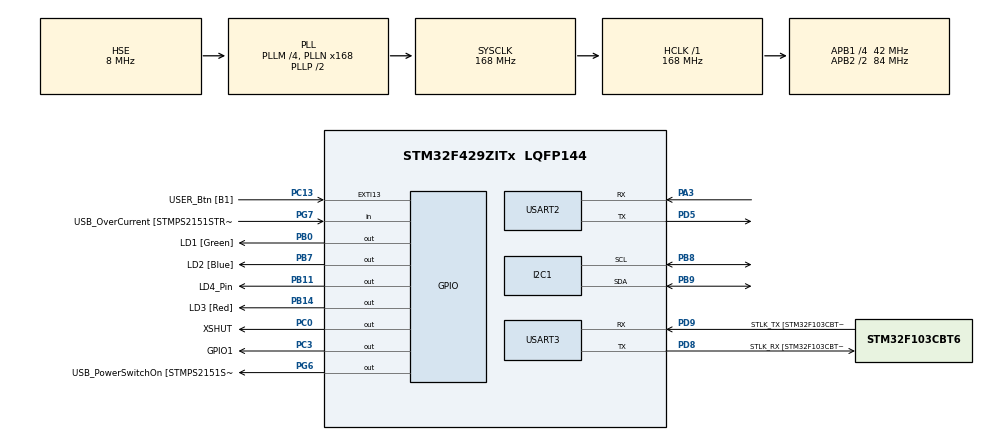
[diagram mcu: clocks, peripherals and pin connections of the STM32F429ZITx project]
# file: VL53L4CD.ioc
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Mcu.Family=STM32F4
Mcu.Name=STM32F429ZITx
Mcu.Package=LQFP144
NVIC.PriorityGroup=NVIC_PRIORITYGROUP_4
PA1.GPIO_Label=RMII_REF_CLK [LAN8742A-CZ-TR_REFCLK0]
PA1.Signal=ETH_REF_CLK
PA10.GPIO_Label=USB_ID
PA10.Signal=USB_OTG_FS_ID
PA11.GPIO_Label=USB_DM
PA11.Signal=USB_OTG_FS_DM
PA12.GPIO_Label=USB_DP
PA12.Signal=USB_OTG_FS_DP
PA13.GPIO_Label=TMS
PA13.Mode=Serial_Wire
PA13.Signal=SYS_JTMS-SWDIO
PA14.GPIO_Label=TCK
PA14.Mode=Serial_Wire
PA14.Signal=SYS_JTCK-SWCLK
PA2.GPIO_Label=RMII_MDIO [LAN8742A-CZ-TR_MDIO]
PA2.Signal=ETH_MDIO
PA3.Mode=Asynchronous
PA3.Signal=USART2_RX
PA7.GPIO_Label=RMII_CRS_DV [LAN8742A-CZ-TR_CRS_DV]
PA7.Signal=ETH_CRS_DV
PA8.GPIO_Label=USB_SOF [TP1]
PA8.Signal=USB_OTG_FS_SOF
PA9.GPIO_Label=USB_VBUS
PA9.Signal=USB_OTG_FS_VBUS
PB0.GPIO_Label=LD1 [Green]
PB0.Signal=GPIO_Output
PB11.GPIO_Label=LD4_Pin
PB11.Signal=GPIO_Output
PB13.GPIO_Label=RMII_TXD1 [LAN8742A-CZ-TR_TXD1]
PB13.Signal=ETH_TXD1
PB14.GPIO_Label=LD3 [Red]
PB14.Signal=GPIO_Output
PB7.GPIO_Label=LD2 [Blue]
PB7.Signal=GPIO_Output
PB8.Mode=I2C
PB8.Signal=I2C1_SCL
PB9.Mode=I2C
PB9.Signal=I2C1_SDA
PC0.GPIO_Label=XSHUT
PC0.Signal=GPIO_Output
PC1.GPIO_Label=RMII_MDC [LAN8742A-CZ-TR_MDC]
PC1.Signal=ETH_MDC
PC13.GPIO_Label=USER_Btn [B1]
PC13.Signal=GPXTI13
PC14/OSC32_IN.Mode=LSE-External-Oscillator
PC14/OSC32_IN.Signal=RCC_OSC32_IN
PC15/OSC32_OUT.Mode=LSE-External-Oscillator
PC15/OSC32_OUT.Signal=RCC_OSC32_OUT
PC3.GPIO_Label=GPIO1
PC3.Signal=GPIO_Output
PC4.GPIO_Label=RMII_RXD0 [LAN8742A-CZ-TR_RXD0]
PC4.Signal=ETH_RXD0
PC5.GPIO_Label=RMII_RXD1 [LAN8742A-CZ-TR_RXD1]
PC5.Signal=ETH_RXD1
PD5.Mode=Asynchronous
PD5.Signal=USART2_TX
PD8.GPIO_Label=STLK_RX [STM32F103CBT6_PA3]
PD8.Mode=Asynchronous
PD8.Signal=USART3_TX
PD9.GPIO_Label=STLK_TX [STM32F103CBT6_PA2]
PD9.Mode=Asynchronous
PD9.Signal=USART3_RX
PG11.GPIO_Label=RMII_TX_EN [LAN8742A-CZ-TR_TXEN]
PG11.Signal=ETH_TX_EN
PG13.GPIO_Label=RMII_TXD0 [LAN8742A-CZ-TR_TXD0]
PG13.Signal=ETH_TXD0
PG6.GPIO_Label=USB_PowerSwitchOn [STMPS2151STR_EN]
PG6.Signal=GPIO_Output
PG7.GPIO_Label=USB_OverCurrent [STMPS2151STR_FAULT]
PG7.Signal=GPIO_Input
PH0/OSC_IN.GPIO_Label=MCO [STM32F103CBT6_PA8]
PH0/OSC_IN.Mode=HSE-External-Clock-Source
PH0/OSC_IN.Signal=RCC_OSC_IN
PH1/OSC_OUT.Mode=HSE-External-Clock-Source
PH1/OSC_OUT.Signal=RCC_OSC_OUT
ProjectManager.HeapSize=0x200
ProjectManager.StackSize=0x400
ProjectManager.TargetToolchain=Makefile
RCC.48MHZClocksFreq_Value=48000000
RCC.AHBFreq_Value=168000000
RCC.APB1CLKDivider=RCC_HCLK_DIV4
RCC.APB1Freq_Value=42000000
RCC.APB1TimFreq_Value=84000000
RCC.APB2CLKDivider=RCC_HCLK_DIV2
RCC.APB2Freq_Value=84000000
RCC.APB2TimCLKDivider=2
RCC.APB2TimFreq_Value=168000000
RCC.CortexFreq_Value=168000000
RCC.HCLKFreq_Value=168000000
RCC.HSE_VALUE=8000000
RCC.HSI_VALUE=16000000
RCC.PLLM=4
RCC.PLLMUL=RCC_PLL_MUL9
RCC.PLLN=168
RCC.PLLQ=7
RCC.PLLSourceVirtual=RCC_PLLSOURCE_HSE
RCC.PRESCALERUSB=RCC_USBCLKSOURCE_PLL_DIV1_5
RCC.SYSCLKFreq_VALUE=168000000
RCC.SYSCLKSource=RCC_SYSCLKSOURCE_PLLCLK
RCC.SYSCLKSourceVirtual=RCC_SYSCLKSOURCE_PLLCLK
RCC.USBFreq_Value=48000000
RCC.VCOOutputFreq_Value=336000000
USART2.VirtualMode=VM_ASYNC
USART3.VirtualMode=VM_ASYNC
board=NUCLEO-F429ZI

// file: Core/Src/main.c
/* USER CODE BEGIN Header */
/**
  ******************************************************************************
  * @file           : main.c
  * @brief          : Main program body
  ******************************************************************************
  * @attention
  *
  * Copyright (c) 2023 STMicroelectronics.
  * All rights reserved.
  *
  * This software is licensed under terms that can be found in the LICENSE file
  * in the root directory of this software component.
  * If no LICENSE file comes with this software, it is provided AS-IS.
  *
  ******************************************************************************
  */
/* USER CODE END Header */
#include "main.h"

/* USER CODE BEGIN Includes */
#include <stdio.h>
#include "VL53L4CD_api.h"
/* USER CODE END Includes */

/* USER CODE BEGIN PD */
//////////---------lower_extreme(x) ---------y --------upper_extreme(z)-----------
#define lower_extreme LD1_Pin // less than x
#define lower_range   LD2_Pin // between x n y
#define upper_range   LD3_Pin// to define a pin   between y n z
#define upper_extreme GPIO_PIN_11 // greter than z

/* USER CODE END PD */

I2C_HandleTypeDef hi2c1;

UART_HandleTypeDef huart2;
UART_HandleTypeDef huart3;

/* USER CODE BEGIN PV */

int status;
volatile int IntCount;
uint8_t p_data_ready;
uint16_t dev, sensor_id;
VL53L4CD_ResultsData_t results;		/* Results data from VL53L4CD */
VL53L4CD_Version_t sw_version;	/* Driver version */
uint32_t prev_time=0;
uint32_t current_time=0;
/* USER CODE END PV */

void SystemClock_Config(void);
static void MX_GPIO_Init(void);
static void MX_I2C1_Init(void);
static void MX_USART3_UART_Init(void);
static void MX_USART2_UART_Init(void);
/* USER CODE BEGIN PFP */

void greater_than_extremity(void);
void lower_than_extremity(void);
void between_lower_range(void);
void between_upper_range(void);

#ifdef __GNUC__
#define PUTCHAR_PROTOTYPE int __io_putchar(int ch)
#else
#define PUTCHAR_PROTOTYPE int fputc(int ch, FILE *f)
#endif
PUTCHAR_PROTOTYPE
{
	HAL_UART_Transmit(&huart2, (uint8_t *)&ch, 1, 0xFFFF);
	return ch;
}

 int _write(int file, char *ptr, int len)
{
	// int DataIdx;

	// for (DataIdx = 0; DataIdx < len; DataIdx++)
	// {
	// 	__io_putchar(*ptr++);
	// }
  HAL_UART_Transmit(&huart2, (uint8_t *)ptr, len, 0xFFFF);
	return len;
}

/* USER CODE END PFP */

int main(void)
{

  /* MCU Configuration--------------------------------------------------------*/

  /* Reset of all peripherals, Initializes the Flash interface and the Systick. */
  HAL_Init();

  /* Configure the system clock */
  SystemClock_Config();

  /* Initialize all configured peripherals */
  MX_GPIO_Init();
  MX_I2C1_Init();
  MX_USART3_UART_Init();
  MX_USART2_UART_Init();
  /* USER CODE BEGIN 2 */

	/* Assign the default address to the sensor */
	dev = 0x52;

	/* Toggle Xshut pin to reset the sensor */

	HAL_GPIO_WritePin(GPIOB, XSHUT_Pin, GPIO_PIN_RESET);
	HAL_Delay(5);
	HAL_GPIO_WritePin(GPIOB, XSHUT_Pin, GPIO_PIN_SET);
	HAL_Delay(5);

	/* Print the software version */

	/* Print the software version */
	status = VL53L4CD_GetSWVersion(&sw_version);
	printf("Starting VL53L4CD driver version %u.%u.%u \r\n",
			sw_version.major,
			sw_version.minor,
			sw_version.build);

	/* Check if VL53L4CD is connected. 0xebaa is the sensor id. */
	status = VL53L4CD_GetSensorId(dev, &sensor_id);
	if(status || (sensor_id != 0xebaa))
	{
		printf("VL53L4CD not detected \r\n");
		printf(" the status is %d", status);
    //return status;
	}
	//status = VL53L4CD_SensorInit(dev);

  printf("Ranging starts\n");
	//status = VL53L4CD_StartRanging(dev);
  /* USER CODE END 2 */

  /* Infinite loop */
  while (1)
  {

    /* USER CODE BEGIN 3 */
    //HAL_UART_Transmit(&huart2, "h", 1, 0xFFFF);
    //printf("hiiii \r\n");
/**********************************************************************************/
    status = VL53L4CD_CheckForDataReady(dev, &p_data_ready);
    prev_time = HAL_GetTick();
		if(p_data_ready){

			/* (Mandatory) Clear HW interrupt to restart measurements */
			VL53L4CD_ClearInterrupt(dev);

			/* Read measured distance. RangeStatus = 0 means valid data */
			VL53L4CD_GetResult(dev, &results);
			printf("Status = %3u, Distance = %5u mm, Signal = %6u kcps/spad \r\n",
					results.range_status,
					results.distance_mm,
					results.signal_per_spad_kcps);
      current_time = HAL_GetTick();
      printf(" the time diff is %ld ms\r\n", current_time - prev_time);

      if(results.distance_mm<50)
        lower_than_extremity();
      if(results.distance_mm>=50 && results.distance_mm< 100)
        between_lower_range();
      if(results.distance_mm>=100 && results.distance_mm< 150)
        between_upper_range();
      if(results.distance_mm>=150 )
        greater_than_extremity();
		}else{
      printf("the status is %d \r\n", status);
			HAL_Delay(10);
		}
/***************************************************************************************/
  // current_time = HAL_GetTick();
  // printf(" the time diff is %ld ms\r\n", current_time - prev_time);
  // prev_time = current_time;
  // IntCount++;
  // if(IntCount<50)
  //   lower_than_extremity();
  // if(IntCount>=50 && IntCount< 100)
  //   between_lower_range();
  // if(IntCount>=100 && IntCount< 150)
  //   between_upper_range();
  // if(IntCount>=150 )
  //   greater_than_extremity();
  // HAL_Delay(100);

  }
  /* USER CODE END 3 */

}
void SystemClock_Config(void)
{
  RCC_OscInitTypeDef RCC_OscInitStruct = {0};
  RCC_ClkInitTypeDef RCC_ClkInitStruct = {0};

  /** Configure the main internal regulator output voltage
  */
  __HAL_RCC_PWR_CLK_ENABLE();
  __HAL_PWR_VOLTAGESCALING_CONFIG(PWR_REGULATOR_VOLTAGE_SCALE1);

  /** Initializes the RCC Oscillators according to the specified parameters
  * in the RCC_OscInitTypeDef structure.
  */
  RCC_OscInitStruct.OscillatorType = RCC_OSCILLATORTYPE_HSE;
  RCC_OscInitStruct.HSEState = RCC_HSE_BYPASS;
  RCC_OscInitStruct.PLL.PLLState = RCC_PLL_ON;
  RCC_OscInitStruct.PLL.PLLSource = RCC_PLLSOURCE_HSE;
  RCC_OscInitStruct.PLL.PLLM = 4;
  RCC_OscInitStruct.PLL.PLLN = 168;
  RCC_OscInitStruct.PLL.PLLP = RCC_PLLP_DIV2;
  RCC_OscInitStruct.PLL.PLLQ = 7;
  if (HAL_RCC_OscConfig(&RCC_OscInitStruct) != HAL_OK)
  {
    Error_Handler();
  }

  /** Initializes the CPU, AHB and APB buses clocks
  */
  RCC_ClkInitStruct.ClockType = RCC_CLOCKTYPE_HCLK|RCC_CLOCKTYPE_SYSCLK
                              |RCC_CLOCKTYPE_PCLK1|RCC_CLOCKTYPE_PCLK2;
  RCC_ClkInitStruct.SYSCLKSource = RCC_SYSCLKSOURCE_PLLCLK;
  RCC_ClkInitStruct.AHBCLKDivider = RCC_SYSCLK_DIV1;
  RCC_ClkInitStruct.APB1CLKDivider = RCC_HCLK_DIV4;
  RCC_ClkInitStruct.APB2CLKDivider = RCC_HCLK_DIV2;

  if (HAL_RCC_ClockConfig(&RCC_ClkInitStruct, FLASH_LATENCY_5) != HAL_OK)
  {
    Error_Handler();
  }
}

static void MX_I2C1_Init(void)
{

  hi2c1.Instance = I2C1;
  hi2c1.Init.ClockSpeed = 100000;
  hi2c1.Init.DutyCycle = I2C_DUTYCYCLE_2;
  hi2c1.Init.OwnAddress1 = 0;
  hi2c1.Init.AddressingMode = I2C_ADDRESSINGMODE_7BIT;
  hi2c1.Init.DualAddressMode = I2C_DUALADDRESS_DISABLE;
  hi2c1.Init.OwnAddress2 = 0;
  hi2c1.Init.GeneralCallMode = I2C_GENERALCALL_DISABLE;
  hi2c1.Init.NoStretchMode = I2C_NOSTRETCH_DISABLE;
  if (HAL_I2C_Init(&hi2c1) != HAL_OK)
  {
    Error_Handler();
  }

  /** Configure Analogue filter
  */
  if (HAL_I2CEx_ConfigAnalogFilter(&hi2c1, I2C_ANALOGFILTER_ENABLE) != HAL_OK)
  {
    Error_Handler();
  }

  /** Configure Digital filter
  */
  if (HAL_I2CEx_ConfigDigitalFilter(&hi2c1, 0) != HAL_OK)
  {
    Error_Handler();
  }

}

static void MX_USART2_UART_Init(void)
{

  huart2.Instance = USART2;
  huart2.Init.BaudRate = 115200;
  huart2.Init.WordLength = UART_WORDLENGTH_8B;
  huart2.Init.StopBits = UART_STOPBITS_1;
  huart2.Init.Parity = UART_PARITY_NONE;
  huart2.Init.Mode = UART_MODE_TX_RX;
  huart2.Init.HwFlowCtl = UART_HWCONTROL_NONE;
  huart2.Init.OverSampling = UART_OVERSAMPLING_16;
  if (HAL_UART_Init(&huart2) != HAL_OK)
  {
    Error_Handler();
  }

}

static void MX_USART3_UART_Init(void)
{

  huart3.Instance = USART3;
  huart3.Init.BaudRate = 115200;
  huart3.Init.WordLength = UART_WORDLENGTH_8B;
  huart3.Init.StopBits = UART_STOPBITS_1;
  huart3.Init.Parity = UART_PARITY_NONE;
  huart3.Init.Mode = UART_MODE_TX_RX;
  huart3.Init.HwFlowCtl = UART_HWCONTROL_NONE;
  huart3.Init.OverSampling = UART_OVERSAMPLING_16;
  if (HAL_UART_Init(&huart3) != HAL_OK)
  {
    Error_Handler();
  }

}

static void MX_GPIO_Init(void)
{
  GPIO_InitTypeDef GPIO_InitStruct = {0};

  /* GPIO Ports Clock Enable */
  __HAL_RCC_GPIOC_CLK_ENABLE();
  __HAL_RCC_GPIOH_CLK_ENABLE();
  __HAL_RCC_GPIOA_CLK_ENABLE();
  __HAL_RCC_GPIOB_CLK_ENABLE();
  __HAL_RCC_GPIOD_CLK_ENABLE();
  __HAL_RCC_GPIOG_CLK_ENABLE();

  /*Configure GPIO pin Output Level */
  HAL_GPIO_WritePin(GPIOC, XSHUT_Pin|GPIO1_Pin, GPIO_PIN_RESET);

  /*Configure GPIO pin Output Level */
  HAL_GPIO_WritePin(GPIOB, LD1_Pin|GPIO_PIN_11|LD3_Pin|LD2_Pin, GPIO_PIN_RESET);

  /*Configure GPIO pin Output Level */
  HAL_GPIO_WritePin(USB_PowerSwitchOn_GPIO_Port, USB_PowerSwitchOn_Pin, GPIO_PIN_RESET);

  /*Configure GPIO pin : USER_Btn_Pin */
  GPIO_InitStruct.Pin = USER_Btn_Pin;
  GPIO_InitStruct.Mode = GPIO_MODE_IT_RISING;
  GPIO_InitStruct.Pull = GPIO_NOPULL;
  HAL_GPIO_Init(USER_Btn_GPIO_Port, &GPIO_InitStruct);

  /*Configure GPIO pins : XSHUT_Pin GPIO1_Pin */
  GPIO_InitStruct.Pin = XSHUT_Pin|GPIO1_Pin;
  GPIO_InitStruct.Mode = GPIO_MODE_OUTPUT_PP;
  GPIO_InitStruct.Pull = GPIO_NOPULL;
  GPIO_InitStruct.Speed = GPIO_SPEED_FREQ_LOW;
  HAL_GPIO_Init(GPIOC, &GPIO_InitStruct);

  /*Configure GPIO pins : RMII_MDC_Pin RMII_RXD0_Pin RMII_RXD1_Pin */
  GPIO_InitStruct.Pin = RMII_MDC_Pin|RMII_RXD0_Pin|RMII_RXD1_Pin;
  GPIO_InitStruct.Mode = GPIO_MODE_AF_PP;
  GPIO_InitStruct.Pull = GPIO_NOPULL;
  GPIO_InitStruct.Speed = GPIO_SPEED_FREQ_VERY_HIGH;
  GPIO_InitStruct.Alternate = GPIO_AF11_ETH;
  HAL_GPIO_Init(GPIOC, &GPIO_InitStruct);

  /*Configure GPIO pins : RMII_REF_CLK_Pin RMII_MDIO_Pin RMII_CRS_DV_Pin */
  GPIO_InitStruct.Pin = RMII_REF_CLK_Pin|RMII_MDIO_Pin|RMII_CRS_DV_Pin;
  GPIO_InitStruct.Mode = GPIO_MODE_AF_PP;
  GPIO_InitStruct.Pull = GPIO_NOPULL;
  GPIO_InitStruct.Speed = GPIO_SPEED_FREQ_VERY_HIGH;
  GPIO_InitStruct.Alternate = GPIO_AF11_ETH;
  HAL_GPIO_Init(GPIOA, &GPIO_InitStruct);

  /*Configure GPIO pins : LD1_Pin PB11 LD3_Pin LD2_Pin */
  GPIO_InitStruct.Pin = LD1_Pin|GPIO_PIN_11|LD3_Pin|LD2_Pin;
  GPIO_InitStruct.Mode = GPIO_MODE_OUTPUT_PP;
  GPIO_InitStruct.Pull = GPIO_NOPULL;
  GPIO_InitStruct.Speed = GPIO_SPEED_FREQ_LOW;
  HAL_GPIO_Init(GPIOB, &GPIO_InitStruct);

  /*Configure GPIO pin : RMII_TXD1_Pin */
  GPIO_InitStruct.Pin = RMII_TXD1_Pin;
  GPIO_InitStruct.Mode = GPIO_MODE_AF_PP;
  GPIO_InitStruct.Pull = GPIO_NOPULL;
  GPIO_InitStruct.Speed = GPIO_SPEED_FREQ_VERY_HIGH;
  GPIO_InitStruct.Alternate = GPIO_AF11_ETH;
  HAL_GPIO_Init(RMII_TXD1_GPIO_Port, &GPIO_InitStruct);

  /*Configure GPIO pin : USB_PowerSwitchOn_Pin */
  GPIO_InitStruct.Pin = USB_PowerSwitchOn_Pin;
  GPIO_InitStruct.Mode = GPIO_MODE_OUTPUT_PP;
  GPIO_InitStruct.Pull = GPIO_NOPULL;
  GPIO_InitStruct.Speed = GPIO_SPEED_FREQ_LOW;
  HAL_GPIO_Init(USB_PowerSwitchOn_GPIO_Port, &GPIO_InitStruct);

  /*Configure GPIO pin : USB_OverCurrent_Pin */
  GPIO_InitStruct.Pin = USB_OverCurrent_Pin;
  GPIO_InitStruct.Mode = GPIO_MODE_INPUT;
  GPIO_InitStruct.Pull = GPIO_NOPULL;
  HAL_GPIO_Init(USB_OverCurrent_GPIO_Port, &GPIO_InitStruct);

  /*Configure GPIO pins : USB_SOF_Pin USB_ID_Pin USB_DM_Pin USB_DP_Pin */
  GPIO_InitStruct.Pin = USB_SOF_Pin|USB_ID_Pin|USB_DM_Pin|USB_DP_Pin;
  GPIO_InitStruct.Mode = GPIO_MODE_AF_PP;
  GPIO_InitStruct.Pull = GPIO_NOPULL;
  GPIO_InitStruct.Speed = GPIO_SPEED_FREQ_VERY_HIGH;
  GPIO_InitStruct.Alternate = GPIO_AF10_OTG_FS;
  HAL_GPIO_Init(GPIOA, &GPIO_InitStruct);

  /*Configure GPIO pin : USB_VBUS_Pin */
  GPIO_InitStruct.Pin = USB_VBUS_Pin;
  GPIO_InitStruct.Mode = GPIO_MODE_INPUT;
  GPIO_InitStruct.Pull = GPIO_NOPULL;
  HAL_GPIO_Init(USB_VBUS_GPIO_Port, &GPIO_InitStruct);

  /*Configure GPIO pins : RMII_TX_EN_Pin RMII_TXD0_Pin */
  GPIO_InitStruct.Pin = RMII_TX_EN_Pin|RMII_TXD0_Pin;
  GPIO_InitStruct.Mode = GPIO_MODE_AF_PP;
  GPIO_InitStruct.Pull = GPIO_NOPULL;
  GPIO_InitStruct.Speed = GPIO_SPEED_FREQ_VERY_HIGH;
  GPIO_InitStruct.Alternate = GPIO_AF11_ETH;
  HAL_GPIO_Init(GPIOG, &GPIO_InitStruct);

}

/* USER CODE BEGIN 4 */

void greater_than_extremity(void)
{
  HAL_GPIO_WritePin(GPIOB, upper_extreme, GPIO_PIN_SET);
  HAL_GPIO_WritePin(GPIOB, lower_extreme, GPIO_PIN_RESET);
  HAL_GPIO_WritePin(GPIOB, upper_range, GPIO_PIN_RESET);
  HAL_GPIO_WritePin(GPIOB, lower_range, GPIO_PIN_RESET);
}
void lower_than_extremity(void)
{
  HAL_GPIO_WritePin(GPIOB, upper_extreme, GPIO_PIN_RESET);
  HAL_GPIO_WritePin(GPIOB, lower_extreme, GPIO_PIN_SET);
  HAL_GPIO_WritePin(GPIOB, upper_range, GPIO_PIN_RESET);
  HAL_GPIO_WritePin(GPIOB, lower_range, GPIO_PIN_RESET);
}
void between_lower_range(void)
{
  HAL_GPIO_WritePin(GPIOB, upper_extreme, GPIO_PIN_RESET);
  HAL_GPIO_WritePin(GPIOB, lower_extreme, GPIO_PIN_RESET);
  HAL_GPIO_WritePin(GPIOB, upper_range, GPIO_PIN_RESET);
  HAL_GPIO_WritePin(GPIOB, lower_range, GPIO_PIN_SET);
}
void between_upper_range(void)
{
  HAL_GPIO_WritePin(GPIOB, upper_extreme, GPIO_PIN_RESET);
  HAL_GPIO_WritePin(GPIOB, lower_extreme, GPIO_PIN_RESET);
  HAL_GPIO_WritePin(GPIOB, upper_range, GPIO_PIN_SET);
  HAL_GPIO_WritePin(GPIOB, lower_range, GPIO_PIN_RESET);
}

/* USER CODE END 4 */

void Error_Handler(void)
{
  __disable_irq();
  while (1)
  {
  }
}
